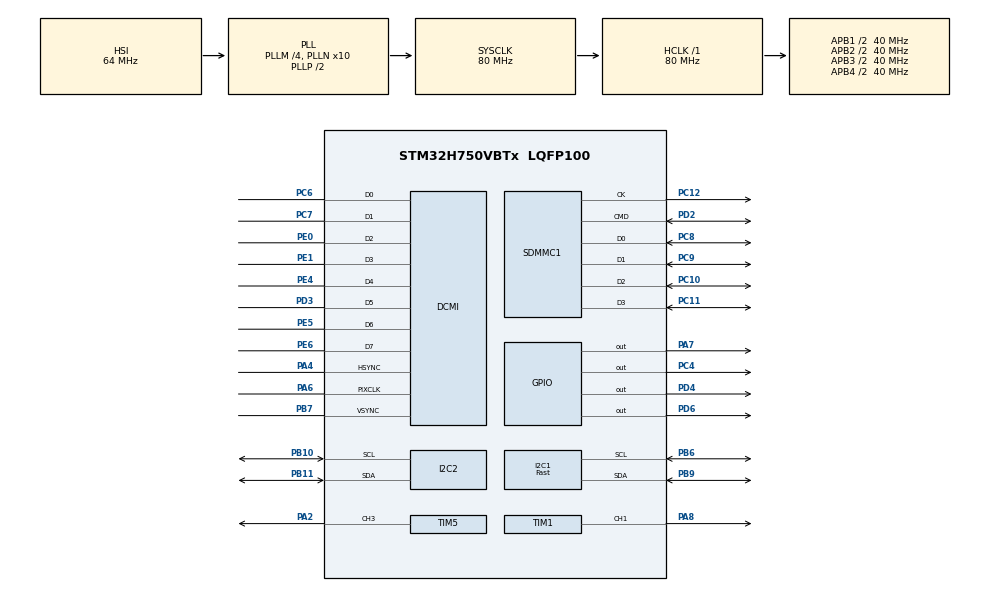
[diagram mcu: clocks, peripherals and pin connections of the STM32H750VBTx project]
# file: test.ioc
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CORTEX_M7.default_mode_Activation=1
DCMI.PCKPolarity=DCMI_PCKPOLARITY_RISING
DCMI.VSPolarity=DCMI_VSPOLARITY_HIGH
Dma.DCMI.0.Direction=DMA_PERIPH_TO_MEMORY
Dma.DCMI.0.EventEnable=DISABLE
Dma.DCMI.0.FIFOMode=DMA_FIFOMODE_DISABLE
Dma.DCMI.0.Instance=DMA1_Stream0
Dma.DCMI.0.MemDataAlignment=DMA_MDATAALIGN_WORD
Dma.DCMI.0.MemInc=DMA_MINC_ENABLE
Dma.DCMI.0.Mode=DMA_NORMAL
Dma.DCMI.0.PeriphDataAlignment=DMA_PDATAALIGN_WORD
Dma.DCMI.0.PeriphInc=DMA_PINC_DISABLE
Dma.DCMI.0.Polarity=HAL_DMAMUX_REQ_GEN_RISING
Dma.DCMI.0.Priority=DMA_PRIORITY_LOW
Dma.DCMI.0.RequestNumber=1
Dma.DCMI.0.SignalID=NONE
Dma.DCMI.0.SyncEnable=DISABLE
Dma.DCMI.0.SyncPolarity=HAL_DMAMUX_SYNC_NO_EVENT
Dma.DCMI.0.SyncRequestNumber=1
Dma.DCMI.0.SyncSignalID=NONE
Dma.Request0=DCMI
I2C1.I2C_Speed_Mode=I2C_Fast
I2C1.Timing=0x00301347
I2C2.Timing=0x00909BEB
Mcu.Family=STM32H7
Mcu.Name=STM32H750VBTx
Mcu.Package=LQFP100
NVIC.DCMI_IRQn=true\:0\:0\:false\:false\:true\:true\:true\:true
NVIC.DMA1_Stream0_IRQn=true\:0\:0\:false\:false\:true\:false\:true\:true
NVIC.PriorityGroup=NVIC_PRIORITYGROUP_4
PA2.Signal=S_TIM5_CH3
PA4.Mode=Slave_8_bits_External_Synchro
PA4.Signal=DCMI_HSYNC
PA6.Mode=Slave_8_bits_External_Synchro
PA6.Signal=DCMI_PIXCLK
PA7.Signal=GPIO_Output
PA8.Signal=S_TIM1_CH1
PB10.Mode=I2C
PB10.Signal=I2C2_SCL
PB11.Mode=I2C
PB11.Signal=I2C2_SDA
PB6.Mode=I2C
PB6.Signal=I2C1_SCL
PB7.Mode=Slave_8_bits_External_Synchro
PB7.Signal=DCMI_VSYNC
PB9.Mode=I2C
PB9.Signal=I2C1_SDA
PC10.GPIO_PuPd=GPIO_PULLUP
PC10.Mode=SD_4_bits_Wide_bus
PC10.Signal=SDMMC1_D2
PC11.GPIO_PuPd=GPIO_PULLUP
PC11.Mode=SD_4_bits_Wide_bus
PC11.Signal=SDMMC1_D3
PC12.GPIO_PuPd=GPIO_PULLUP
PC12.Mode=SD_4_bits_Wide_bus
PC12.Signal=SDMMC1_CK
PC4.Signal=GPIO_Output
PC6.Mode=Slave_8_bits_External_Synchro
PC6.Signal=DCMI_D0
PC7.Mode=Slave_8_bits_External_Synchro
PC7.Signal=DCMI_D1
PC8.GPIO_PuPd=GPIO_PULLUP
PC8.Mode=SD_4_bits_Wide_bus
PC8.Signal=SDMMC1_D0
PC9.GPIO_PuPd=GPIO_PULLUP
PC9.Mode=SD_4_bits_Wide_bus
PC9.Signal=SDMMC1_D1
PD2.GPIO_PuPd=GPIO_PULLUP
PD2.Mode=SD_4_bits_Wide_bus
PD2.Signal=SDMMC1_CMD
PD3.Mode=Slave_8_bits_External_Synchro
PD3.Signal=DCMI_D5
PD4.Signal=GPIO_Output
PD6.Signal=GPIO_Output
PE0.Mode=Slave_8_bits_External_Synchro
PE0.Signal=DCMI_D2
PE1.Mode=Slave_8_bits_External_Synchro
PE1.Signal=DCMI_D3
PE4.Mode=Slave_8_bits_External_Synchro
PE4.Signal=DCMI_D4
PE5.Mode=Slave_8_bits_External_Synchro
PE5.Signal=DCMI_D6
PE6.Mode=Slave_8_bits_External_Synchro
PE6.Signal=DCMI_D7
ProjectManager.HeapSize=0x200
ProjectManager.StackSize=0x400
ProjectManager.TargetToolchain=STM32CubeIDE
RCC.ADCFreq_Value=129000000
RCC.APB1Freq_Value=40000000
RCC.APB2Freq_Value=40000000
RCC.APB3Freq_Value=40000000
RCC.APB4Freq_Value=40000000
RCC.CortexFreq_Value=80000000
RCC.D1PPRE=RCC_APB3_DIV2
RCC.D2PPRE1=RCC_APB1_DIV2
RCC.D2PPRE2=RCC_APB2_DIV2
RCC.D3PPRE=RCC_APB4_DIV2
RCC.DIVM1=4
RCC.DIVN1=10
RCC.HCLKFreq_Value=80000000
RCC.PLL2FRACN=0
RCC.PLL3FRACN=0
RCC.PLLFRACN=0
RCC.SYSCLKFreq_VALUE=80000000
RCC.SYSCLKSource=RCC_SYSCLKSOURCE_PLLCLK
RCC.USBFreq_Value=80000000
SDMMC1.ClockDiv=199
SH.S_TIM1_CH1.0=TIM1_CH1,Output Compare1 CH1
SH.S_TIM5_CH3.0=TIM5_CH3,Output Compare3 CH3
TIM1.Channel-Output\ Compare1\ CH1=TIM_CHANNEL_1
TIM1.Period=1
TIM5.Channel-Output\ Compare3\ CH3=TIM_CHANNEL_3
TIM5.OCMode_3=TIM_OCMODE_TOGGLE
TIM5.OCPolarity_3=TIM_OCPOLARITY_LOW
TIM5.Period=1
TIM5.Pulse-Output\ Compare3\ CH3=1
VP_FATFS_VS_SDIO.Mode=SDIO
VP_LIBJPEG_VS_JPEGLIB.Mode=Enabled
VP_MEMORYMAP_VS_MEMORYMAP.Mode=CurAppReg
board=custom

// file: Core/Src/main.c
/* USER CODE BEGIN Header */
/**
  ******************************************************************************
  * @file           : main.c
  * @brief          : Main program body
  ******************************************************************************
  * @attention
  *
  * Copyright (c) 2025 STMicroelectronics.
  * All rights reserved.
  *
  * This software is licensed under terms that can be found in the LICENSE file
  * in the root directory of this software component.
  * If no LICENSE file comes with this software, it is provided AS-IS.
  *
  ******************************************************************************
  */
/* USER CODE END Header */
#include "main.h"
#include "fatfs.h"
#include "libjpeg.h"

/* USER CODE BEGIN Includes */
#include <stdbool.h>
#include <stdio.h>
#include <string.h>

#include "OV7670.h"

#define IMG_PREFIX                                                        "img"
#define IMG_EXTENSION                                                     "jpg"

#define ILI9341_WIDTH                       (320U)
#define ILI9341_HEIGHT                      (240U)
    #define  ILI9341_ACTIVE_WIDTH           ILI9341_WIDTH
    #define  ILI9341_ACTIVE_HEIGHT          ILI9341_HEIGHT

#define RGB888_SIZE_BYTES                                                  (3U)
#define RGB565_SIZE_BYTES                                                  (2U)

#define MAX_IMAGE_NAME_LENGTH                                             (32U)
#define MAX_IMAGE_COUNT                                                  (400U)

#define FRAMEBUF_LINES     (ILI9341_ACTIVE_HEIGHT)
#define FRAMEBUF_WIDTH     (ILI9341_ACTIVE_WIDTH)
#define FRAMEBUF_SIZE      (FRAMEBUF_WIDTH * FRAMEBUF_LINES * 2U)  // RGB565 = 2 bytes

static uint8_t sd_frame_buffer[FRAMEBUF_SIZE];  // Global buffer for one full frame
static uint8_t SD_RGB565_buffer[RGB565_SIZE_BYTES * ILI9341_ACTIVE_WIDTH];
static volatile uint8_t frame_ready = 0;

/* USER CODE END Includes */

DCMI_HandleTypeDef hdcmi;
DMA_HandleTypeDef hdma_dcmi;

I2C_HandleTypeDef hi2c1;
I2C_HandleTypeDef hi2c2;

SD_HandleTypeDef hsd1;

TIM_HandleTypeDef htim1;
TIM_HandleTypeDef htim5;

void SystemClock_Config(void);
static void MPU_Config(void);
static void MX_GPIO_Init(void);
static void MX_DMA_Init(void);
static void MX_SDMMC1_SD_Init(void);
static void MX_DCMI_Init(void);
static void MX_I2C1_Init(void);
static void MX_TIM5_Init(void);
static void MX_I2C2_Init(void);
static void MX_TIM1_Init(void);

/* USER CODE BEGIN 0 */

void _DrawCrop(const uint8_t *buffer, uint32_t nbytes, uint16_t x1, uint16_t x2, uint16_t y1, uint16_t y2);

void SD_PhotoViewer_Init(void);

bool checkAndInitSD(FATFS *fs, char *SDPath, const Diskio_drvTypeDef *SD_Driver);
void SD_PhotoViewer_Save(void);
extern const Diskio_drvTypeDef  SD_Driver;
void SD_Dump_RAW565(void);
/* USER CODE END 0 */

int main(void)
{

  /* MPU Configuration--------------------------------------------------------*/
  MPU_Config();

  /* MCU Configuration--------------------------------------------------------*/

  /* Reset of all peripherals, Initializes the Flash interface and the Systick. */
  HAL_Init();

  /* Configure the system clock */
  SystemClock_Config();

  /* Initialize all configured peripherals */
  MX_GPIO_Init();
  MX_DMA_Init();
  MX_SDMMC1_SD_Init();
  MX_FATFS_Init();
  MX_LIBJPEG_Init();
  MX_DCMI_Init();
  MX_I2C1_Init();
  MX_TIM5_Init();
  MX_I2C2_Init();
  MX_TIM1_Init();
  /* USER CODE BEGIN 2 */
  SD_PhotoViewer_Init();
  HAL_Delay(300U);

  OV7670_Init(&hdcmi, &hi2c1, &htim5, TIM_CHANNEL_3);
  OV7670_RegisterCallback(OV7670_DRAWLINE_CBK, (OV7670_FncPtr_t)_DrawCrop);

  OV7670_Start();
  HAL_Delay(300);  // або краще чекати через флаг frame_ready
  OV7670_Stop();

  if (frame_ready)
  {
	  SD_Dump_RAW565();
      SD_PhotoViewer_Save();
      frame_ready = 0;
  }
  /* USER CODE END 2 */

  /* Infinite loop */
  while (1)
  {

  }
}

void SystemClock_Config(void)
{
  RCC_OscInitTypeDef RCC_OscInitStruct = {0};
  RCC_ClkInitTypeDef RCC_ClkInitStruct = {0};

  /** Supply configuration update enable
  */
  HAL_PWREx_ConfigSupply(PWR_LDO_SUPPLY);

  /** Configure the main internal regulator output voltage
  */
  __HAL_PWR_VOLTAGESCALING_CONFIG(PWR_REGULATOR_VOLTAGE_SCALE3);

  while(!__HAL_PWR_GET_FLAG(PWR_FLAG_VOSRDY)) {}

  /** Initializes the RCC Oscillators according to the specified parameters
  * in the RCC_OscInitTypeDef structure.
  */
  RCC_OscInitStruct.OscillatorType = RCC_OSCILLATORTYPE_HSI;
  RCC_OscInitStruct.HSIState = RCC_HSI_DIV1;
  RCC_OscInitStruct.HSICalibrationValue = RCC_HSICALIBRATION_DEFAULT;
  RCC_OscInitStruct.PLL.PLLState = RCC_PLL_ON;
  RCC_OscInitStruct.PLL.PLLSource = RCC_PLLSOURCE_HSI;
  RCC_OscInitStruct.PLL.PLLM = 4;
  RCC_OscInitStruct.PLL.PLLN = 10;
  RCC_OscInitStruct.PLL.PLLP = 2;
  RCC_OscInitStruct.PLL.PLLQ = 2;
  RCC_OscInitStruct.PLL.PLLR = 2;
  RCC_OscInitStruct.PLL.PLLRGE = RCC_PLL1VCIRANGE_3;
  RCC_OscInitStruct.PLL.PLLVCOSEL = RCC_PLL1VCOMEDIUM;
  RCC_OscInitStruct.PLL.PLLFRACN = 0;
  if (HAL_RCC_OscConfig(&RCC_OscInitStruct) != HAL_OK)
  {
    Error_Handler();
  }

  /** Initializes the CPU, AHB and APB buses clocks
  */
  RCC_ClkInitStruct.ClockType = RCC_CLOCKTYPE_HCLK|RCC_CLOCKTYPE_SYSCLK
                              |RCC_CLOCKTYPE_PCLK1|RCC_CLOCKTYPE_PCLK2
                              |RCC_CLOCKTYPE_D3PCLK1|RCC_CLOCKTYPE_D1PCLK1;
  RCC_ClkInitStruct.SYSCLKSource = RCC_SYSCLKSOURCE_PLLCLK;
  RCC_ClkInitStruct.SYSCLKDivider = RCC_SYSCLK_DIV1;
  RCC_ClkInitStruct.AHBCLKDivider = RCC_HCLK_DIV1;
  RCC_ClkInitStruct.APB3CLKDivider = RCC_APB3_DIV2;
  RCC_ClkInitStruct.APB1CLKDivider = RCC_APB1_DIV2;
  RCC_ClkInitStruct.APB2CLKDivider = RCC_APB2_DIV2;
  RCC_ClkInitStruct.APB4CLKDivider = RCC_APB4_DIV2;

  if (HAL_RCC_ClockConfig(&RCC_ClkInitStruct, FLASH_LATENCY_1) != HAL_OK)
  {
    Error_Handler();
  }
}

static void MX_DCMI_Init(void)
{

  hdcmi.Instance = DCMI;
  hdcmi.Init.SynchroMode = DCMI_SYNCHRO_HARDWARE;
  hdcmi.Init.PCKPolarity = DCMI_PCKPOLARITY_RISING;
  hdcmi.Init.VSPolarity = DCMI_VSPOLARITY_HIGH;
  hdcmi.Init.HSPolarity = DCMI_HSPOLARITY_LOW;
  hdcmi.Init.CaptureRate = DCMI_CR_ALL_FRAME;
  hdcmi.Init.ExtendedDataMode = DCMI_EXTEND_DATA_8B;
  hdcmi.Init.JPEGMode = DCMI_JPEG_DISABLE;
  hdcmi.Init.ByteSelectMode = DCMI_BSM_ALL;
  hdcmi.Init.ByteSelectStart = DCMI_OEBS_ODD;
  hdcmi.Init.LineSelectMode = DCMI_LSM_ALL;
  hdcmi.Init.LineSelectStart = DCMI_OELS_ODD;
  if (HAL_DCMI_Init(&hdcmi) != HAL_OK)
  {
    Error_Handler();
  }

}

static void MX_I2C1_Init(void)
{

  hi2c1.Instance = I2C1;
  hi2c1.Init.Timing = 0x00301347;
  hi2c1.Init.OwnAddress1 = 0;
  hi2c1.Init.AddressingMode = I2C_ADDRESSINGMODE_7BIT;
  hi2c1.Init.DualAddressMode = I2C_DUALADDRESS_DISABLE;
  hi2c1.Init.OwnAddress2 = 0;
  hi2c1.Init.OwnAddress2Masks = I2C_OA2_NOMASK;
  hi2c1.Init.GeneralCallMode = I2C_GENERALCALL_DISABLE;
  hi2c1.Init.NoStretchMode = I2C_NOSTRETCH_DISABLE;
  if (HAL_I2C_Init(&hi2c1) != HAL_OK)
  {
    Error_Handler();
  }

  /** Configure Analogue filter
  */
  if (HAL_I2CEx_ConfigAnalogFilter(&hi2c1, I2C_ANALOGFILTER_ENABLE) != HAL_OK)
  {
    Error_Handler();
  }

  /** Configure Digital filter
  */
  if (HAL_I2CEx_ConfigDigitalFilter(&hi2c1, 0) != HAL_OK)
  {
    Error_Handler();
  }

}

static void MX_I2C2_Init(void)
{

  hi2c2.Instance = I2C2;
  hi2c2.Init.Timing = 0x00909BEB;
  hi2c2.Init.OwnAddress1 = 0;
  hi2c2.Init.AddressingMode = I2C_ADDRESSINGMODE_7BIT;
  hi2c2.Init.DualAddressMode = I2C_DUALADDRESS_DISABLE;
  hi2c2.Init.OwnAddress2 = 0;
  hi2c2.Init.OwnAddress2Masks = I2C_OA2_NOMASK;
  hi2c2.Init.GeneralCallMode = I2C_GENERALCALL_DISABLE;
  hi2c2.Init.NoStretchMode = I2C_NOSTRETCH_DISABLE;
  if (HAL_I2C_Init(&hi2c2) != HAL_OK)
  {
    Error_Handler();
  }

  /** Configure Analogue filter
  */
  if (HAL_I2CEx_ConfigAnalogFilter(&hi2c2, I2C_ANALOGFILTER_ENABLE) != HAL_OK)
  {
    Error_Handler();
  }

  /** Configure Digital filter
  */
  if (HAL_I2CEx_ConfigDigitalFilter(&hi2c2, 0) != HAL_OK)
  {
    Error_Handler();
  }

}

static void MX_SDMMC1_SD_Init(void)
{

  hsd1.Instance = SDMMC1;
  hsd1.Init.ClockEdge = SDMMC_CLOCK_EDGE_RISING;
  hsd1.Init.ClockPowerSave = SDMMC_CLOCK_POWER_SAVE_DISABLE;
  hsd1.Init.BusWide = SDMMC_BUS_WIDE_4B;
  hsd1.Init.HardwareFlowControl = SDMMC_HARDWARE_FLOW_CONTROL_DISABLE;
  hsd1.Init.ClockDiv = 199;
  if (HAL_SD_Init(&hsd1) != HAL_OK)
  {
    Error_Handler();
  }

}

static void MX_TIM1_Init(void)
{

  TIM_MasterConfigTypeDef sMasterConfig = {0};
  TIM_OC_InitTypeDef sConfigOC = {0};
  TIM_BreakDeadTimeConfigTypeDef sBreakDeadTimeConfig = {0};

  htim1.Instance = TIM1;
  htim1.Init.Prescaler = 0;
  htim1.Init.CounterMode = TIM_COUNTERMODE_UP;
  htim1.Init.Period = 1;
  htim1.Init.ClockDivision = TIM_CLOCKDIVISION_DIV1;
  htim1.Init.RepetitionCounter = 0;
  htim1.Init.AutoReloadPreload = TIM_AUTORELOAD_PRELOAD_DISABLE;
  if (HAL_TIM_OC_Init(&htim1) != HAL_OK)
  {
    Error_Handler();
  }
  sMasterConfig.MasterOutputTrigger = TIM_TRGO_RESET;
  sMasterConfig.MasterOutputTrigger2 = TIM_TRGO2_RESET;
  sMasterConfig.MasterSlaveMode = TIM_MASTERSLAVEMODE_DISABLE;
  if (HAL_TIMEx_MasterConfigSynchronization(&htim1, &sMasterConfig) != HAL_OK)
  {
    Error_Handler();
  }
  sConfigOC.OCMode = TIM_OCMODE_TIMING;
  sConfigOC.Pulse = 0;
  sConfigOC.OCPolarity = TIM_OCPOLARITY_HIGH;
  sConfigOC.OCNPolarity = TIM_OCNPOLARITY_HIGH;
  sConfigOC.OCFastMode = TIM_OCFAST_DISABLE;
  sConfigOC.OCIdleState = TIM_OCIDLESTATE_RESET;
  sConfigOC.OCNIdleState = TIM_OCNIDLESTATE_RESET;
  if (HAL_TIM_OC_ConfigChannel(&htim1, &sConfigOC, TIM_CHANNEL_1) != HAL_OK)
  {
    Error_Handler();
  }
  sBreakDeadTimeConfig.OffStateRunMode = TIM_OSSR_DISABLE;
  sBreakDeadTimeConfig.OffStateIDLEMode = TIM_OSSI_DISABLE;
  sBreakDeadTimeConfig.LockLevel = TIM_LOCKLEVEL_OFF;
  sBreakDeadTimeConfig.DeadTime = 0;
  sBreakDeadTimeConfig.BreakState = TIM_BREAK_DISABLE;
  sBreakDeadTimeConfig.BreakPolarity = TIM_BREAKPOLARITY_HIGH;
  sBreakDeadTimeConfig.BreakFilter = 0;
  sBreakDeadTimeConfig.Break2State = TIM_BREAK2_DISABLE;
  sBreakDeadTimeConfig.Break2Polarity = TIM_BREAK2POLARITY_HIGH;
  sBreakDeadTimeConfig.Break2Filter = 0;
  sBreakDeadTimeConfig.AutomaticOutput = TIM_AUTOMATICOUTPUT_DISABLE;
  if (HAL_TIMEx_ConfigBreakDeadTime(&htim1, &sBreakDeadTimeConfig) != HAL_OK)
  {
    Error_Handler();
  }
  HAL_TIM_MspPostInit(&htim1);

}

static void MX_TIM5_Init(void)
{

  TIM_MasterConfigTypeDef sMasterConfig = {0};
  TIM_OC_InitTypeDef sConfigOC = {0};

  htim5.Instance = TIM5;
  htim5.Init.Prescaler = 0;
  htim5.Init.CounterMode = TIM_COUNTERMODE_UP;
  htim5.Init.Period = 1;
  htim5.Init.ClockDivision = TIM_CLOCKDIVISION_DIV1;
  htim5.Init.AutoReloadPreload = TIM_AUTORELOAD_PRELOAD_DISABLE;
  if (HAL_TIM_OC_Init(&htim5) != HAL_OK)
  {
    Error_Handler();
  }
  sMasterConfig.MasterOutputTrigger = TIM_TRGO_RESET;
  sMasterConfig.MasterSlaveMode = TIM_MASTERSLAVEMODE_DISABLE;
  if (HAL_TIMEx_MasterConfigSynchronization(&htim5, &sMasterConfig) != HAL_OK)
  {
    Error_Handler();
  }
  sConfigOC.OCMode = TIM_OCMODE_TOGGLE;
  sConfigOC.Pulse = 1;
  sConfigOC.OCPolarity = TIM_OCPOLARITY_LOW;
  sConfigOC.OCFastMode = TIM_OCFAST_DISABLE;
  if (HAL_TIM_OC_ConfigChannel(&htim5, &sConfigOC, TIM_CHANNEL_3) != HAL_OK)
  {
    Error_Handler();
  }
  HAL_TIM_MspPostInit(&htim5);

}

static void MX_DMA_Init(void)
{

  /* DMA controller clock enable */
  __HAL_RCC_DMA1_CLK_ENABLE();

  /* DMA interrupt init */
  /* DMA1_Stream0_IRQn interrupt configuration */
  HAL_NVIC_SetPriority(DMA1_Stream0_IRQn, 0, 0);
  HAL_NVIC_EnableIRQ(DMA1_Stream0_IRQn);

}

static void MX_GPIO_Init(void)
{
  GPIO_InitTypeDef GPIO_InitStruct = {0};

  /* GPIO Ports Clock Enable */
  __HAL_RCC_GPIOE_CLK_ENABLE();
  __HAL_RCC_GPIOA_CLK_ENABLE();
  __HAL_RCC_GPIOC_CLK_ENABLE();
  __HAL_RCC_GPIOB_CLK_ENABLE();
  __HAL_RCC_GPIOD_CLK_ENABLE();

  /*Configure GPIO pin Output Level */
  HAL_GPIO_WritePin(GPIOA, GPIO_PIN_7, GPIO_PIN_RESET);

  /*Configure GPIO pin Output Level */
  HAL_GPIO_WritePin(GPIOC, GPIO_PIN_4, GPIO_PIN_RESET);

  /*Configure GPIO pin Output Level */
  HAL_GPIO_WritePin(GPIOD, GPIO_PIN_4|GPIO_PIN_6, GPIO_PIN_RESET);

  /*Configure GPIO pin : PA7 */
  GPIO_InitStruct.Pin = GPIO_PIN_7;
  GPIO_InitStruct.Mode = GPIO_MODE_OUTPUT_PP;
  GPIO_InitStruct.Pull = GPIO_NOPULL;
  GPIO_InitStruct.Speed = GPIO_SPEED_FREQ_LOW;
  HAL_GPIO_Init(GPIOA, &GPIO_InitStruct);

  /*Configure GPIO pin : PC4 */
  GPIO_InitStruct.Pin = GPIO_PIN_4;
  GPIO_InitStruct.Mode = GPIO_MODE_OUTPUT_PP;
  GPIO_InitStruct.Pull = GPIO_NOPULL;
  GPIO_InitStruct.Speed = GPIO_SPEED_FREQ_LOW;
  HAL_GPIO_Init(GPIOC, &GPIO_InitStruct);

  /*Configure GPIO pins : PD4 PD6 */
  GPIO_InitStruct.Pin = GPIO_PIN_4|GPIO_PIN_6;
  GPIO_InitStruct.Mode = GPIO_MODE_OUTPUT_PP;
  GPIO_InitStruct.Pull = GPIO_NOPULL;
  GPIO_InitStruct.Speed = GPIO_SPEED_FREQ_LOW;
  HAL_GPIO_Init(GPIOD, &GPIO_InitStruct);

}

/* USER CODE BEGIN 4 */

void _DrawCrop(const uint8_t *buffer, uint32_t nbytes,
               uint16_t x1, uint16_t x2, uint16_t y1, uint16_t y2)
{
    uint32_t line_width = (x2 - x1 + 1U);
    uint32_t lines = (y2 - y1 + 1U);

    for (uint32_t i = 0; i < lines; i++) {
        uint8_t *dst = &sd_frame_buffer[2 * (y1 + i) * FRAMEBUF_WIDTH];
        const uint8_t *src = &buffer[i * line_width * 2];

        // Copy line, assuming full-width (x1 == 0, x2 == 319)
        memcpy(dst + x1 * 2, src, line_width * 2);
    }

    // Signal when full frame is ready
    if (y2 >= (FRAMEBUF_LINES - 1U)) {
        frame_ready = 1;
    }
}

void SD_PhotoViewer_Init(void)
{
    (void)checkAndInitSD(&SDFatFS, SDPath, &SD_Driver);
}

bool checkAndInitSD(FATFS *fs, char *SDPath, const Diskio_drvTypeDef *SD_Driver)
{
    bool retVal = true;
    DWORD free_clusters;

    if (f_getfree(SDPath, &free_clusters, &fs) != FR_OK)
    {
        f_mount(NULL, (TCHAR const*) SDPath, 1);
        FATFS_UnLinkDriver((TCHAR*) SDPath);
        FATFS_LinkDriver(SD_Driver, (TCHAR*) SDPath);

        if (FR_OK != f_mount(fs, (TCHAR const*) SDPath, 1))
        {
            retVal = false;
        }
    }

    return retVal;
}

void SD_PhotoViewer_Save(void)
{
    FIL file;
    char filename[32] = { 0 };
    uint8_t row_rgb888_buffer[3 * ILI9341_ACTIVE_WIDTH];  // Temporary RGB888 buffer

    if (f_mount(&SDFatFS, SDPath, 1) != FR_OK)
    {
        // mount error
        return;
    }

    do {
        sprintf(filename, "%s_%d.%s", IMG_PREFIX, 9, IMG_EXTENSION);

        if (FR_OK != f_open(&file, filename, FA_CREATE_ALWAYS | FA_WRITE))
        {
            break;
        }

        struct jpeg_compress_struct cinfo;
        struct jpeg_error_mgr jerr;
        JSAMPROW row_pointer;

        cinfo.err = jpeg_std_error(&jerr);
        jpeg_create_compress(&cinfo);
        jpeg_stdio_dest(&cinfo, &file);

        cinfo.image_width = ILI9341_ACTIVE_WIDTH;
        cinfo.image_height = ILI9341_ACTIVE_HEIGHT;
        cinfo.input_components = 3;
        cinfo.in_color_space = JCS_RGB;

        jpeg_set_defaults(&cinfo);
        jpeg_set_quality(&cinfo, 100, TRUE);
        jpeg_start_compress(&cinfo, TRUE);

        while (cinfo.next_scanline < cinfo.image_height)
        {
            uint16_t y = cinfo.next_scanline;
            const uint8_t* line_rgb565 = &sd_frame_buffer[y * FRAMEBUF_WIDTH * 2];

            for (uint16_t x = 0; x < FRAMEBUF_WIDTH; x++)
            {
                // Little Endian: LSB first (typical for OV7670)
          	uint16_t rgb565 = (line_rgb565[2 * x] << 8) | line_rgb565[2 * x + 1];
            	//uint16_t rgb565 = (line_rgb565[2 * x + 1] << 8) | line_rgb565[2 * x];
              // uint16_t rgb565 = (line_rgb565[2 * x + 1] << 8) | line_rgb565[2 * x];

                uint8_t r5 = (rgb565 >> 11) & 0x1F;
                uint8_t g6 = (rgb565 >> 5) & 0x3F;
                uint8_t b5 = rgb565 & 0x1F;

                row_rgb888_buffer[3 * x + 0] = (r5 << 3) | (r5 >> 2);  // R
                row_rgb888_buffer[3 * x + 1] = (g6 << 2) | (g6 >> 4);  // G
                row_rgb888_buffer[3 * x + 2] = (b5 << 3) | (b5 >> 2);  // B
            }

            row_pointer = row_rgb888_buffer;
            jpeg_write_scanlines(&cinfo, &row_pointer, 1);
        }

        jpeg_finish_compress(&cinfo);
        jpeg_destroy_compress(&cinfo);
        f_close(&file);

    } while (0);
}

void SD_Dump_RAW565(void)
{
    FIL file;
    UINT bytes_written;

    if (f_mount(&SDFatFS, SDPath, 1) != FR_OK) {
        return;
    }

    if (f_open(&file, "frame.raw", FA_CREATE_ALWAYS | FA_WRITE) != FR_OK) {
        return;
    }

    f_write(&file, sd_frame_buffer, FRAMEBUF_SIZE, &bytes_written);
    f_close(&file);
}

/* USER CODE END 4 */

 /* MPU Configuration */

void MPU_Config(void)
{
  MPU_Region_InitTypeDef MPU_InitStruct = {0};

  /* Disables the MPU */
  HAL_MPU_Disable();

  /** Initializes and configures the Region and the memory to be protected
  */
  MPU_InitStruct.Enable = MPU_REGION_ENABLE;
  MPU_InitStruct.Number = MPU_REGION_NUMBER0;
  MPU_InitStruct.BaseAddress = 0x0;
  MPU_InitStruct.Size = MPU_REGION_SIZE_4GB;
  MPU_InitStruct.SubRegionDisable = 0x87;
  MPU_InitStruct.TypeExtField = MPU_TEX_LEVEL0;
  MPU_InitStruct.AccessPermission = MPU_REGION_NO_ACCESS;
  MPU_InitStruct.DisableExec = MPU_INSTRUCTION_ACCESS_DISABLE;
  MPU_InitStruct.IsShareable = MPU_ACCESS_SHAREABLE;
  MPU_InitStruct.IsCacheable = MPU_ACCESS_NOT_CACHEABLE;
  MPU_InitStruct.IsBufferable = MPU_ACCESS_NOT_BUFFERABLE;

  HAL_MPU_ConfigRegion(&MPU_InitStruct);
  /* Enables the MPU */
  HAL_MPU_Enable(MPU_PRIVILEGED_DEFAULT);

}

void Error_Handler(void)
{
  __disable_irq();
  while (1)
  {
  }
}
